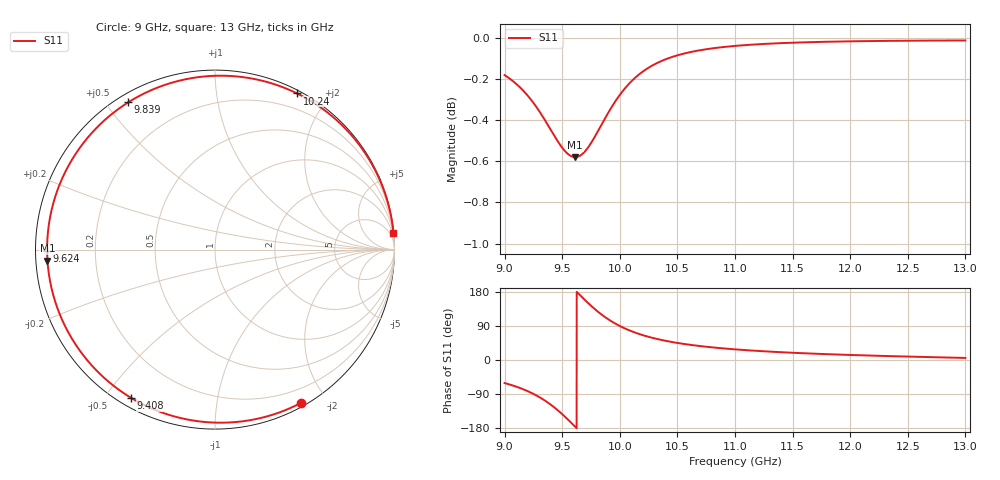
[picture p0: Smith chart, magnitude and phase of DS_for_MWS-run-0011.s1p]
! TOUCHSTONE file generated by CST DESIGN STUDIO
! Date and time: Tue Feb  4 14:07:00 2025
! Project name: C:\Work\MatlabApps\UnitCellOptimizationMatlab\CST\unitcell.cst
! Tree item: Tasks\Sweep1\SPara1\S-Parameters
! Header version: 2024
! Port assignment regex: !\s*Touchstone port\s*([0-9]+)\s*=\s*(CST MWS port|CST DES external port|CST DES block port)\s*(.+)\s* \(\"(.*)\"\)(\s*mode\s*([0-9]+))?.*
! Touchstone port assignment:
! Touchstone port 1 = CST DES external port 1 ("")
# GHz S MA R 50
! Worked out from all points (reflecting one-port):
!   4001 points, 9 GHz to 13 GHz, reference 50 ohm
!   lowest |S11| = -0.6 dB at 9.613 GHz (marker M1), VSWR 29.98, Z = 1.67 - j1.67 ohm
!   phase of S11 starts at -61 deg and turns -294 deg over the sweep
!   S11 on the Smith chart (normalised r, x): 9 GHz: 0.04, -1.70; 9.408 GHz: 0.03, -0.58; 9.624 GHz: 0.03, -0.00; 9.839 GHz: 0.03, +0.57; 10.24 GHz: 0.03, +1.65; 13 GHz: 0, +21
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9  0.9794 -60.8
9.055  0.9769 -65.7
9.128  0.973 -73.2
9.191  0.9689 -80.9
9.253  0.964 -89.9
9.336  0.9564 -104.3
9.408  0.9491 -119.5
9.454  0.9445 -130.7
9.5  0.9404 -142.9
9.559  0.9366 -159.8
9.613  0.9354 -176.2
9.624  0.9355 -179.5
9.669  0.9368 166.7
9.716  0.9398 152.8
9.778  0.9456 135.6
9.839  0.9523 120.5
9.914  0.9605 104.6
10  0.9686 89.7
10.113  0.9767 74.5
10.236  0.9829 62.3
10.358  0.987 53.1
10.5  0.9903 45.0
10.72  0.9934 36.0
11  0.9955 28.1
11.5  0.9973 19.1
12  0.9981 13.3
12.5  0.9984 9.0
13  0.9986 5.5
